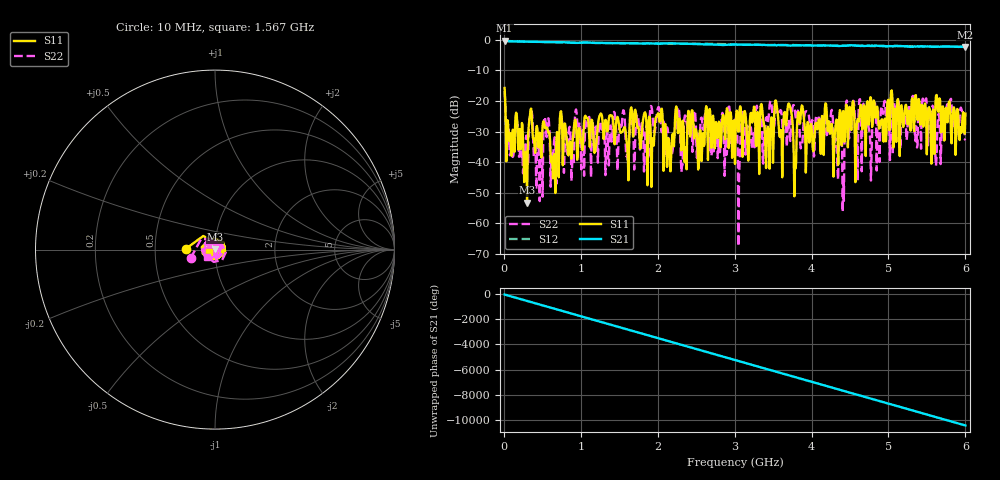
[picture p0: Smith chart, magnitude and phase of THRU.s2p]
!Keysight Technologies,N5245B,MY52501319,Z.13.01.242
!Date: Monday, February 16, 2026 14:48:05
!Correction: S11(Off)
!S21(Off)
!S12(Off)
!S22(Off)
!S2P File: Measurements: S11, S21, S12, S22:
# Hz S  RI  R 50
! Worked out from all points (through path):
!   801 points, 10 MHz to 6 GHz, reference 50 ohm
!   highest |S21| = -0.30 dB at 10 MHz (marker M1); lowest = -2.4 dB at 6 GHz (marker M2)
!   group delay of S21, straight-line fit = 4.84 ns
!   lowest |S11| = -53.2 dB at 302 MHz (marker M3), VSWR 1.00, Z = 50.1 + j0.212 ohm
!   |S11| at or under -10 dB: start of sweep to end of sweep
!   |S22| runs from -67.4 to -16.8 dB; largest |S21 - S12| = 1.7
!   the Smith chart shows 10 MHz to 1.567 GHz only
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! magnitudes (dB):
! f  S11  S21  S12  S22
! 10 MHz  -15.8  -0.3  -0.3  -16.8
! 99.85 MHz  -37.9  -0.5  -0.5  -36.0
! 302 MHz  -53.2  -0.7  -0.7  -33.0
! 346.9 MHz  -22.8  -0.7  -0.7  -24.8
! 444.3 MHz  -32.7  -0.8  -0.7  -33.3
! 549.1 MHz  -28.8  -0.8  -0.8  -30.0
! 646.4 MHz  -40.8  -0.9  -0.8  -35.4
! 758.8 MHz  -29.2  -0.8  -0.9  -27.0
! 1.013 GHz  -34.3  -1.0  -0.9  -33.5
! 1.852 GHz  -26.4  -1.2  -1.2  -28.2
! 2.009 GHz  -24.1  -1.3  -1.4  -22.0
! 2.174 GHz  -38.5  -1.2  -1.4  -37.7
! 2.256 GHz  -25.6  -1.3  -1.4  -23.1
! 2.316 GHz  -28.9  -1.3  -1.3  -41.2
! 3.005 GHz  -40.6  -1.6  -1.6  -27.2
! 3.057 GHz  -26.1  -1.6  -1.6  -44.7
! 3.102 GHz  -38.3  -1.7  -1.6  -23.6
! 3.462 GHz  -32.7  -1.8  -1.7  -20.3
! 4.008 GHz  -31.7  -1.9  -1.9  -26.3
! 4.405 GHz  -24.4  -2.0  -1.9  -56.3
! 5.004 GHz  -21.9  -2.1  -2.1  -21.7
! 6 GHz  -24.2  -2.4  -2.4  -32.4
